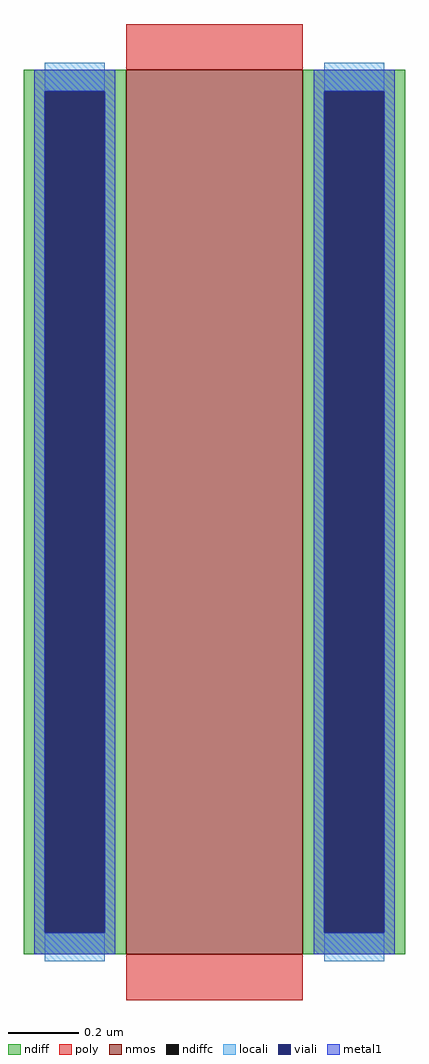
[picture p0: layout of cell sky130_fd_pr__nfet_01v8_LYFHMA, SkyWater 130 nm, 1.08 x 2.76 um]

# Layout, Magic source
magic
tech sky130A
<< nmos >>
rect -25 -125 25 125
<< ndiff >>
rect -54 119 -25 125
rect -54 -119 -48 119
rect -31 -119 -25 119
rect -54 -125 -25 -119
rect 25 119 54 125
rect 25 -119 31 119
rect 48 -119 54 119
rect 25 -125 54 -119
<< ndiffc >>
rect -48 -119 -31 119
rect 31 -119 48 119
<< poly >>
rect -25 125 25 138
rect -25 -138 25 -125
<< locali >>
rect -48 119 -31 127
rect -48 -127 -31 -119
rect 31 119 48 127
rect 31 -127 48 -119
<< viali >>
rect -48 -119 -31 119
rect 31 -119 48 119
<< metal1 >>
rect -51 119 -28 125
rect -51 -119 -48 119
rect -31 -119 -28 119
rect -51 -125 -28 -119
rect 28 119 51 125
rect 28 -119 31 119
rect 48 -119 51 119
rect 28 -125 51 -119
<< properties >>
string gencell sky130_fd_pr__nfet_01v8
string library sky130
string parameters w 2.5 l 0.5 m 1 nf 1 diffcov 100 polycov 100 guard 0 glc 0 grc 0 gtc 0 gbc 0 tbcov 100 rlcov 100 topc 0 botc 0 poverlap 0 doverlap 0 lmin 0.15 wmin 0.42 compatible {sky130_fd_pr__nfet_01v8 sky130_fd_pr__nfet_01v8_lvt  sky130_fd_bs_flash__special_sonosfet_star  sky130_fd_pr__nfet_g5v0d10v5 sky130_fd_pr__nfet_05v0_nvt  sky130_fd_pr__nfet_03v3_nvt} full_metal 0 viasrc 100 viadrn 100 viagate 100 viagb 0 viagr 0 viagl 0 viagt 0
<< end >>
